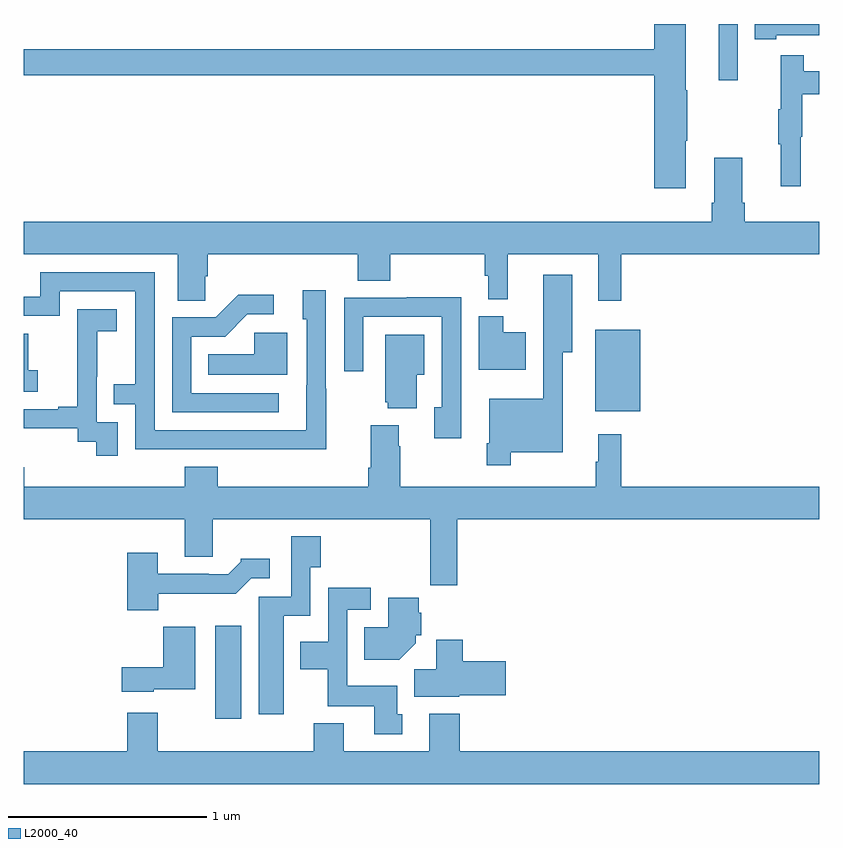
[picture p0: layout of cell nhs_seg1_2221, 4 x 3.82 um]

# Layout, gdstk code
import gdstk
lib = gdstk.Library(unit=1e-6, precision=1e-09)
def R(c, l, rs):  # rectangles x0, y0, x1, y1
    for r in rs: c.add(gdstk.rectangle(r[:2], r[2:], *l))
def P(c, l, *ps):  # polygons
    for p in ps: c.add(gdstk.Polygon(p, *l))
L2000_40 = (2000, 40)

nhs_seg1_2221 = lib.new_cell('nhs_seg1_2221')
R(nhs_seg1_2221, L2000_40, [(231.962,574.704,232.093,575.173), (233.873,576.251,234.1,576.661), (234.494,577.917,234.591,578.199)])
P(nhs_seg1_2221, L2000_40, [(234.784,578.142),(235,578.142),(235,578.199),(234.676,578.199),(234.676,578.122),(234.784,578.122)],
  [(234.328,577.612),(234.336,577.612),(234.336,577.865),(234.328,577.865),(234.328,578.199),(234.17,578.199),(234.17,578.071),(231,578.071),(231,577.942),(234.17,577.942),(234.17,577.374),(234.328,577.374)],
  [(234.908,577.632),(234.916,577.632),(234.916,577.846),(235,577.846),(235,577.962),(234.923,577.962),(234.923,578.041),(234.806,578.041),(234.806,577.769),(234.795,577.769),(234.795,577.595),(234.806,577.595),(234.806,577.383),(234.908,577.383)],
  [(234.005,577.04),(235,577.04),(235,577.204),(234.626,577.204),(234.626,577.3),(234.613,577.3),(234.613,577.525),(234.473,577.525),(234.473,577.3),(234.461,577.3),(234.461,577.204),(231,577.204),(231,577.04),(231.773,577.04),(231.773,576.808),(231.912,576.808),(231.912,576.931),(231.926,576.931),(231.926,577.04),(232.679,577.04),(232.679,576.907),(232.844,576.907),(232.844,577.04),(233.317,577.04),(233.317,576.933),(233.336,576.933),(233.336,576.815),(233.434,576.815),(233.434,577.04),(233.888,577.04),(233.888,576.807),(234.005,576.807)],
  [(232.521,576.365),(232.518,576.365),(232.518,576.859),(232.403,576.859),(232.403,576.714),(232.422,576.714),(232.422,576.383),(232.421,576.383),(232.421,576.156),(231.657,576.156),(231.657,576.951),(231.083,576.951),(231.083,576.828),(231,576.828),(231,576.732),(231.18,576.732),(231.18,576.855),(231.561,576.855),(231.561,576.386),(231.451,576.386),(231.451,576.285),(231.561,576.285),(231.561,576.06),(232.057,576.06),(232.057,576.059),(232.521,576.059)],
  [(233.449,576.044),(233.71,576.044),(233.71,576.548),(233.758,576.548),(233.758,576.937),(233.612,576.937),(233.612,576.313),(233.34,576.313),(233.34,576.091),(233.328,576.091),(233.328,575.979),(233.449,575.979)],
  [(232.282,576.342),(231.843,576.342),(231.843,576.627),(232.012,576.627),(232.123,576.738),(232.258,576.738),(232.258,576.836),(232.079,576.836),(231.966,576.723),(231.747,576.723),(231.747,576.246),(232.282,576.246)],
  [(233.2,576.358),(233.199,576.358),(233.199,576.824),(232.927,576.824),(232.927,576.822),(232.611,576.822),(232.611,576.453),(232.707,576.453),(232.707,576.726),(233.103,576.726),(233.103,576.27),(233.063,576.27),(233.063,576.114),(233.2,576.114)],
  [(231.471,576.195),(231.366,576.195),(231.366,576.425),(231.368,576.425),(231.368,576.653),(231.466,576.653),(231.466,576.763),(231.268,576.763),(231.268,576.557),(231.269,576.557),(231.269,576.274),(231.173,576.274),(231.173,576.261),(231,576.261),(231,576.165),(231.27,576.165),(231.27,576.097),(231.363,576.097),(231.363,576.027),(231.471,576.027)],
  [(233.524,576.649),(233.41,576.649),(233.41,576.73),(233.288,576.73),(233.288,576.461),(233.524,576.461)],
  [(232.324,576.646),(232.159,576.646),(232.159,576.538),(231.928,576.538),(231.928,576.434),(232.324,576.434)],
  [(231.07,576.457),(231.021,576.457),(231.021,576.642),(231,576.642),(231,576.348),(231.07,576.348)],
  [(232.975,576.434),(233.014,576.434),(233.014,576.637),(232.817,576.637),(232.817,576.297),(232.829,576.297),(232.829,576.266),(232.975,576.266)],
  [(233.18,575.708),(235,575.708),(235,575.872),(234.005,575.872),(234.005,576.136),(233.888,576.136),(233.888,575.996),(233.877,575.996),(233.877,575.872),(232.893,575.872),(232.893,576.074),(232.885,576.074),(232.885,576.181),(232.745,576.181),(232.745,575.968),(232.733,575.968),(232.733,575.872),(231.974,575.872),(231.974,575.971),(231.809,575.971),(231.809,575.872),(231.002,575.872),(231.002,575.97),(231,575.97),(231,575.708),(231.809,575.708),(231.809,575.518),(231.949,575.518),(231.949,575.708),(233.044,575.708),(233.044,575.376),(233.18,575.376)],
  [(232.306,575.222),(232.44,575.222),(232.44,575.467),(232.493,575.467),(232.493,575.623),(232.344,575.623),(232.344,575.319),(232.181,575.319),(232.181,574.728),(232.306,574.728)],
  [(231.676,575.334),(232.065,575.334),(232.143,575.412),(232.237,575.412),(232.237,575.509),(232.092,575.509),(232.092,575.494),(232.028,575.43),(231.929,575.43),(231.929,575.433),(231.673,575.433),(231.673,575.539),(231.521,575.539),(231.521,575.249),(231.676,575.249)],
  [(232.903,574.728),(232.879,574.728),(232.879,574.87),(232.626,574.87),(232.626,575.253),(232.744,575.253),(232.744,575.362),(232.53,575.362),(232.53,575.092),(232.391,575.092),(232.391,574.952),(232.528,574.952),(232.528,574.766),(232.763,574.766),(232.763,574.626),(232.903,574.626)],
  [(232.972,575.085),(232.972,575.124),(232.998,575.124),(232.998,575.238),(232.985,575.238),(232.985,575.314),(232.832,575.314),(232.832,575.164),(232.711,575.164),(232.711,575),(232.888,575)],
  [(231.654,574.853),(231.862,574.853),(231.862,575.167),(231.7,575.167),(231.7,574.963),(231.492,574.963),(231.492,574.841),(231.654,574.841)],
  [(233.19,574.823),(233.425,574.823),(233.425,574.994),(233.207,574.994),(233.207,575.101),(233.075,575.101),(233.075,574.952),(232.964,574.952),(232.964,574.814),(233.19,574.814)],
  [(235,574.54),(233.192,574.54),(233.192,574.729),(233.039,574.729),(233.039,574.54),(232.609,574.54),(232.609,574.681),(232.457,574.681),(232.457,574.54),(231.673,574.54),(231.673,574.735),(231.521,574.735),(231.521,574.54),(231,574.54),(231,574.376),(235,574.376)])

lib.write_gds('nhs_seg1_2221.gds')
